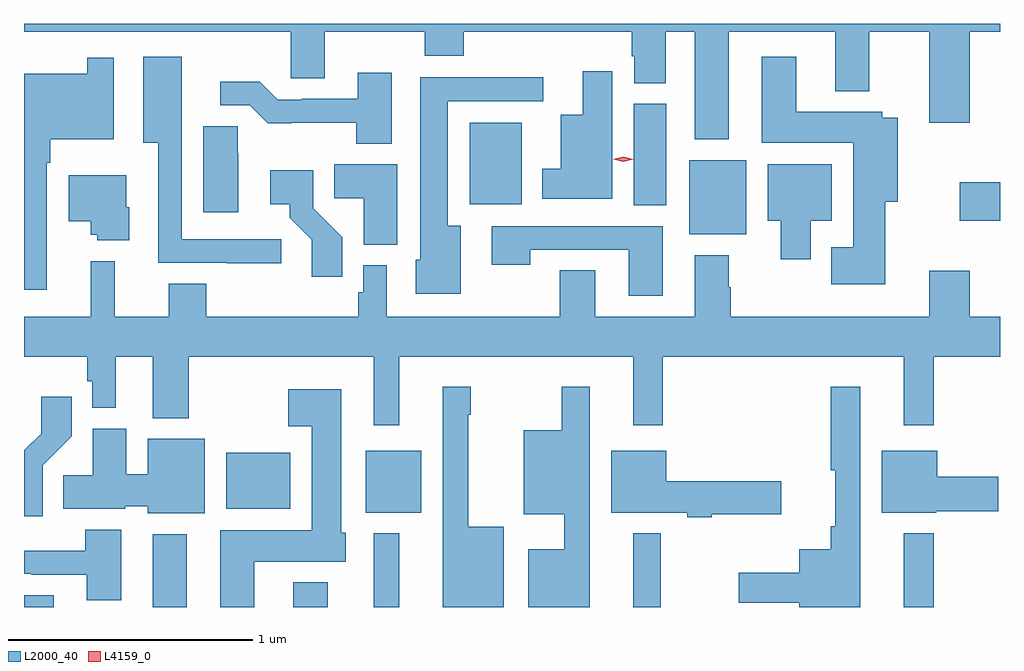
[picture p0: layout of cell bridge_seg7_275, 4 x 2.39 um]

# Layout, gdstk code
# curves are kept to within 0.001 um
import gdstk
lib = gdstk.Library(unit=1e-6, precision=1e-09)
def R(c, l, rs):  # rectangles x0, y0, x1, y1
    for r in rs: c.add(gdstk.rectangle(r[:2], r[2:], *l))
def P(c, l, *ps):  # polygons
    for p in ps: c.add(gdstk.Polygon(p, *l))
L2000_40 = (2000, 40)
L4159_0 = (4159, 0)

bridge_seg7_275 = lib.new_cell('bridge_seg7_275')
R(bridge_seg7_275, L2000_40, [(125.333,1079.51,125.455,1079.558), (125.861,1079.51,126.001,1079.809), (126.437,1079.51,126.577,1079.611), (126.767,1079.51,126.871,1079.812), (127.829,1079.51,127.943,1079.812), (128.939,1079.51,129.061,1079.812), (126.734,1079.897,126.961,1080.151), (126.161,1079.912,126.424,1080.142), (128.06,1081.037,128.293,1081.342), (129.168,1081.094,129.333,1081.252), (127.832,1081.156,127.966,1081.572), (127.16,1081.16,127.372,1081.495)])
P(bridge_seg7_275, L2000_40, [(128.221,1081.868),(128.657,1081.868),(128.657,1081.625),(128.797,1081.625),(128.797,1081.868),(129.044,1081.868),(129.044,1081.494),(129.208,1081.494),(129.208,1081.868),(129.333,1081.868),(129.333,1081.9),(125.333,1081.9),(125.333,1081.868),(126.426,1081.868),(126.426,1081.678),(126.565,1081.678),(126.565,1081.868),(126.976,1081.868),(126.976,1081.769),(127.136,1081.769),(127.136,1081.868),(127.823,1081.868),(127.823,1081.767),(127.835,1081.767),(127.835,1081.657),(127.963,1081.657),(127.963,1081.868),(128.081,1081.868),(128.081,1081.427),(128.221,1081.427)],
  [(126.388,1081.017),(125.979,1081.017),(125.979,1081.516),(125.98,1081.516),(125.98,1081.765),(125.822,1081.765),(125.822,1081.412),(125.883,1081.412),(125.883,1080.921),(126.163,1080.921),(126.163,1080.919),(126.388,1080.919)],
  [(128.862,1081.172),(128.914,1081.172),(128.914,1081.516),(128.85,1081.516),(128.85,1081.54),(128.497,1081.54),(128.497,1081.765),(128.357,1081.765),(128.357,1081.412),(128.732,1081.412),(128.732,1080.985),(128.642,1080.985),(128.642,1080.833),(128.862,1080.833)],
  [(125.427,1081.331),(125.44,1081.331),(125.44,1081.427),(125.7,1081.427),(125.7,1081.762),(125.592,1081.762),(125.592,1081.696),(125.333,1081.696),(125.333,1080.81),(125.427,1080.81)],
  [(127.744,1081.705),(127.622,1081.705),(127.622,1081.528),(127.532,1081.528),(127.532,1081.306),(127.457,1081.306),(127.457,1081.184),(127.744,1081.184)],
  [(126.841,1081.699),(126.701,1081.699),(126.701,1081.593),(126.472,1081.593),(126.472,1081.59),(126.372,1081.59),(126.299,1081.663),(126.138,1081.663),(126.138,1081.566),(126.258,1081.566),(126.331,1081.493),(126.694,1081.494),(126.694,1081.409),(126.841,1081.409)],
  [(127.123,1081.072),(127.069,1081.072),(127.069,1081.584),(127.462,1081.584),(127.462,1081.682),(126.956,1081.682),(126.956,1080.933),(126.938,1080.933),(126.938,1080.794),(127.123,1080.794)],
  [(126.211,1081.37),(126.21,1081.37),(126.21,1081.481),(126.068,1081.481),(126.068,1081.128),(126.211,1081.128)],
  [(128.557,1081.094),(128.644,1081.094),(128.644,1081.324),(128.381,1081.324),(128.381,1081.094),(128.435,1081.094),(128.435,1080.936),(128.557,1080.936)],
  [(126.862,1081.324),(126.604,1081.324),(126.604,1081.186),(126.725,1081.186),(126.725,1080.995),(126.862,1080.995)],
  [(126.638,1081.026),(126.519,1081.145),(126.519,1081.3),(126.342,1081.3),(126.342,1081.16),(126.422,1081.16),(126.422,1081.105),(126.513,1081.015),(126.513,1080.864),(126.638,1080.864)],
  [(125.764,1081.149),(125.752,1081.149),(125.752,1081.279),(125.516,1081.279),(125.516,1081.091),(125.606,1081.091),(125.606,1081.035),(125.634,1081.035),(125.634,1081.013),(125.764,1081.013)],
  [(127.951,1081.071),(127.251,1081.071),(127.251,1080.912),(127.407,1080.912),(127.407,1080.975),(127.811,1080.975),(127.811,1080.786),(127.951,1080.786)],
  [(126.871,1080.536),(127.829,1080.536),(127.829,1080.255),(127.951,1080.255),(127.951,1080.536),(128.939,1080.536),(128.939,1080.255),(129.061,1080.255),(129.061,1080.536),(129.333,1080.536),(129.333,1080.7),(129.208,1080.7),(129.208,1080.889),(129.044,1080.889),(129.044,1080.7),(128.229,1080.7),(128.229,1080.821),(128.221,1080.821),(128.221,1080.952),(128.081,1080.952),(128.081,1080.7),(127.675,1080.7),(127.675,1080.89),(127.528,1080.89),(127.528,1080.7),(126.819,1080.7),(126.819,1080.91),(126.723,1080.91),(126.723,1080.801),(126.703,1080.801),(126.703,1080.7),(126.08,1080.7),(126.08,1080.836),(125.927,1080.836),(125.927,1080.7),(125.705,1080.7),(125.705,1080.928),(125.606,1080.928),(125.606,1080.7),(125.333,1080.7),(125.333,1080.536),(125.593,1080.536),(125.593,1080.435),(125.613,1080.435),(125.613,1080.326),(125.71,1080.326),(125.71,1080.536),(125.861,1080.536),(125.861,1080.284),(126.009,1080.284),(126.009,1080.536),(126.767,1080.536),(126.767,1080.255),(126.871,1080.255)],
  [(128.761,1080.412),(128.64,1080.412),(128.64,1080.071),(128.657,1080.071),(128.657,1079.842),(128.64,1079.842),(128.64,1079.746),(128.51,1079.746),(128.51,1079.65),(128.262,1079.65),(128.262,1079.528),(128.51,1079.528),(128.51,1079.51),(128.761,1079.51)],
  [(127.3,1079.839),(127.153,1079.839),(127.153,1080.299),(127.163,1080.299),(127.163,1080.412),(127.049,1080.412),(127.049,1079.51),(127.3,1079.51)],
  [(127.651,1080.412),(127.537,1080.412),(127.537,1080.235),(127.382,1080.235),(127.382,1079.891),(127.547,1079.891),(127.547,1079.746),(127.4,1079.746),(127.4,1079.51),(127.651,1079.51)],
  [(126.277,1079.696),(126.652,1079.696),(126.652,1079.814),(126.634,1079.814),(126.634,1080.403),(126.417,1080.403),(126.417,1080.251),(126.512,1080.251),(126.512,1079.824),(126.137,1079.824),(126.137,1079.51),(126.277,1079.51)],
  [(125.409,1080.091),(125.528,1080.21),(125.528,1080.373),(125.403,1080.373),(125.403,1080.221),(125.333,1080.152),(125.333,1079.883),(125.409,1079.883)],
  [(126.073,1080.199),(125.84,1080.199),(125.84,1080.054),(125.752,1080.054),(125.752,1080.241),(125.615,1080.241),(125.615,1080.05),(125.494,1080.05),(125.494,1079.912),(125.748,1079.912),(125.748,1079.924),(125.84,1079.924),(125.84,1079.894),(126.073,1079.894)],
  [(128.152,1079.891),(128.437,1079.891),(128.437,1080.026),(127.966,1080.026),(127.966,1080.151),(127.739,1080.151),(127.739,1079.897),(128.052,1079.897),(128.052,1079.879),(128.152,1079.879)],
  [(129.072,1079.903),(129.325,1079.903),(129.325,1080.045),(129.076,1080.045),(129.076,1080.151),(128.849,1080.151),(128.849,1079.897),(129.072,1079.897)],
  [(125.731,1079.827),(125.584,1079.827),(125.584,1079.741),(125.333,1079.741),(125.333,1079.646),(125.362,1079.646),(125.362,1079.643),(125.591,1079.643),(125.591,1079.538),(125.731,1079.538)])
P(bridge_seg7_275, L4159_0, [(127.789,1081.336),(127.748,1081.345),(127.748,1081.345),(127.748,1081.346),(127.789,1081.356),(127.829,1081.346),(127.83,1081.346),(127.829,1081.346)])

lib.write_gds('bridge_seg7_275.gds')
